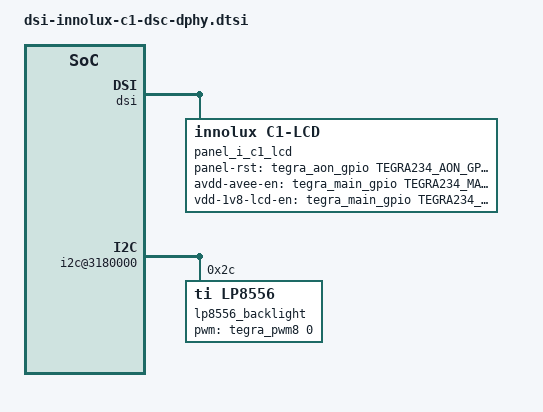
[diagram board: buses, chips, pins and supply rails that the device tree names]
/*
 * Copyright (c) 2022, NVIDIA CORPORATION.  All rights reserved.
 *
 * This program is free software; you can redistribute it and/or modify it
 * under the terms and conditions of the GNU General Public License,
 * version 2, as published by the Free Software Foundation.
 *
 * This program is distributed in the hope it will be useful, but WITHOUT
 * ANY WARRANTY; without even the implied warranty of MERCHANTABILITY or
 * FITNESS FOR A PARTICULAR PURPOSE.  See the GNU General Public License for
 * more details.
 *
 * You should have received a copy of the GNU General Public License
 * along with this program.  If not, see <http://www.gnu.org/licenses/>.
 */

// Panel: Innolux C-1 DPHY 1080x1920 with compression enabled, connected to E3616, part No. FN21AY-C1

#include <dt-bindings/display/tegra-dc.h>
#include <dt-bindings/display/tegra-panel.h>
#include "dt-bindings/gpio/tegra234-gpio.h"

/ {
	display@13800000 {
		nvidia,backlight-name = "pwm-backlight"; // Should match bl-name property in lp8556 node.
		dsi {
			status = "okay";
			nvidia,active-panel = <&panel_i_c1_lcd>;
			panel_i_c1_lcd: panel-i-c1-lcd {
				status = "okay";
				compatible = "innolux,c1-lcd";
				nvidia,dsi-instance = <DSI_INSTANCE_0>;
				nvidia,dsi-n-data-lanes = <4>;
				nvidia,dsi-pixel-format = <TEGRA_DSI_PIXEL_FORMAT_24BIT_P>;
				nvidia,dsi-refresh-rate = <60>;
				nvidia,dsi-phy-type = <DSI_DPHY>; //DPHY = 0, CPHY = 1
				nvidia,dsi-video-data-type = <0>; //DSI_VIDEO_NON_BURST_MODE
				nvidia,dsi-video-clock-mode = <1>; // TX_ONLY
				nvidia,dsi-video-burst-mode = <0>;
				nvidia,dsi-virtual-channel = <TEGRA_DSI_VIRTUAL_CHANNEL_0>;
				nvidia,dsi-panel-reset = <TEGRA_DSI_ENABLE>;
				nvidia,dsi-power-saving-suspend = <TEGRA_DSI_ENABLE>;
				nvidia,dsi-ulpm-not-support = <TEGRA_DSI_ENABLE>;
				nvidia,set-max-dsi-timeout;
				nvidia,use-legacy-dphy-core;
				nvidia,enable-link-compression;
				nvidia,comp-rate = <TEGRA_DSI_PIXEL_FORMAT_8BIT_DSC>;
				nvidia,num-of-slices = <2>;
				nvidia,slice-height = <32>;
				nvidia,dsi-init-cmd =
					/* Long  Packet: <PACKETTYPE[u8] COMMANDID[u8] PAYLOADCOUNT[u16] ECC[u8] PAYLOAD[..] CHECKSUM[u16]> */
					/* Short Packet: <PACKETTYPE[u8] COMMANDID[u8] DATA0[u8] DATA1[u8] ECC[u8]> */
					/* For DSI packets each DT cell is interpreted as u8 not u32 */

					<TEGRA_DSI_PACKET_CMD DSI_DCS_WRITE_1_PARAM 0xFF 0x25 0x0>,
					<TEGRA_DSI_DELAY_MS 10>, //Required 5ms
					<TEGRA_DSI_PACKET_CMD DSI_DCS_WRITE_1_PARAM 0xFB 0x01 0x0>,
					<TEGRA_DSI_DELAY_MS 10>, //Required 0ms
					<TEGRA_DSI_PACKET_CMD DSI_DCS_WRITE_1_PARAM 0x18 0x21 0x0>,
					<TEGRA_DSI_DELAY_MS 10>, //Required 0ms
					<TEGRA_DSI_PACKET_CMD DSI_DCS_WRITE_1_PARAM 0xFF 0xE0 0x0>,
					<TEGRA_DSI_DELAY_MS 10>, //Required 5ms
					<TEGRA_DSI_PACKET_CMD DSI_DCS_WRITE_1_PARAM 0xFB 0x01 0x0>,
					<TEGRA_DSI_DELAY_MS 10>, //Required 0ms
					<TEGRA_DSI_PACKET_CMD DSI_DCS_WRITE_1_PARAM 0x35 0x82 0x0>,
					<TEGRA_DSI_DELAY_MS 10>, //Required 0ms
					<TEGRA_DSI_PACKET_CMD DSI_DCS_WRITE_1_PARAM 0xFF 0xF0 0x0>,
					<TEGRA_DSI_DELAY_MS 10>, //Required 5ms
					<TEGRA_DSI_PACKET_CMD DSI_DCS_WRITE_1_PARAM 0xFB 0x01 0x0>,
					<TEGRA_DSI_DELAY_MS 10>, //Required 0ms
					<TEGRA_DSI_PACKET_CMD DSI_DCS_WRITE_1_PARAM 0x5A 0x00 0x0>,
					<TEGRA_DSI_DELAY_MS 10>, //Required 0ms
					<TEGRA_DSI_PACKET_CMD DSI_DCS_WRITE_1_PARAM 0xFF 0x10 0x0>,
					<TEGRA_DSI_DELAY_MS 10>, //Required 5ms
					<TEGRA_DSI_PACKET_CMD DSI_DCS_WRITE_1_PARAM 0xFB 0x01 0x0>,
					<TEGRA_DSI_DELAY_MS 10>, //Required 0ms
					<TEGRA_DSI_PACKET_CMD DSI_DCS_WRITE_1_PARAM 0x36 0x02 0x0>,
					<TEGRA_DSI_DELAY_MS 10>, //Required 0ms
					<TEGRA_DSI_PACKET_CMD DSI_DCS_WRITE_1_PARAM 0xB0 0x00 0x0>,
					<TEGRA_DSI_DELAY_MS 10>, //Required 0ms
					// Don't set 24-BPP RAW format, let it be 3:1 compression mode
					// <TEGRA_DSI_PACKET_CMD DSI_DCS_WRITE_1_PARAM 0xC0 0x00 0x0>,
					// <TEGRA_DSI_DELAY_MS 10>, //Required 0ms
					<TEGRA_DSI_PACKET_CMD DSI_DCS_WRITE_0_PARAM DSI_DCS_EXIT_SLEEP_MODE 0x0 0x0>,
					<TEGRA_DSI_DELAY_MS 120>, //Required 120ms
					<TEGRA_DSI_PACKET_CMD DSI_DCS_WRITE_0_PARAM DSI_DCS_SET_DISPLAY_ON 0x0 0x0>,
					<TEGRA_DSI_DELAY_MS 100>; //Required 40ms
				nvidia,dsi-n-init-cmd = <30>;
				nvidia,dsi-suspend-cmd =
					<TEGRA_DSI_PACKET_CMD DSI_DCS_WRITE_0_PARAM DSI_DCS_SET_DISPLAY_OFF 0x0 0x0>,
					<TEGRA_DSI_DELAY_MS 120>, //Required 120ms
					<TEGRA_DSI_PACKET_CMD DSI_DCS_WRITE_0_PARAM DSI_DCS_ENTER_SLEEP_MODE 0x0 0x0>,
					<TEGRA_DSI_DELAY_MS 10>; //Required 0ms
				nvidia,dsi-n-suspend-cmd = <4>;
				nvidia,panel-rst-gpio = <&tegra_aon_gpio TEGRA234_AON_GPIO(CC, 3) GPIO_ACTIVE_HIGH>; // CAM_INT4
				nvidia,avdd-avee-en-gpio = <&tegra_main_gpio TEGRA234_MAIN_GPIO(AC, 0) GPIO_ACTIVE_HIGH>; // CAM1_PWDN
				nvidia,vdd-1v8-lcd-en-gpio = <&tegra_main_gpio TEGRA234_MAIN_GPIO(H, 1) GPIO_ACTIVE_HIGH>; // CAM_ERROR2
				nvidia,panel-timings = <&panel_i_c1_lcd_timings>;
				display-timings {
					panel_i_c1_lcd_timings: 1080-1920-60Hz {
						clock-frequency = <146400000>;
						hactive = <1080>;
						vactive = <1920>;
						hfront-porch = <76>;
						hback-porch = <56>;
						hsync-len = <12>;
						vfront-porch = <54>;
						vback-porch = <10>;
						vsync-len = <10>;
					};
				};
			};
		};
	};

	i2c@3180000 { //gen-3 i2c or cam i2c
		status = "okay";
		lp8556_backlight: lp8556-backlight-t-lcd-7-0@2c {
			status = "okay";
			compatible = "ti,lp8556";
			reg = <0x2C>;

			bl-name = "pwm-backlight";
			// init-brt = /bits/ 8 <0xFF>; /* Max brightness */
			init-brt = /bits/ 8 <0x7D>; /* Half brightness */
			dev-ctrl = /bits/ 8 <0x80>; /* PWM, enable standby mode */
			pwm-period = <59424>;

			pwm-names = "lp8556";
			pwms = <&tegra_pwm8 0 59424>; /* tegra_pwm8 = CAM_BACKLIGHT_PWM */
			skip-i2c-configuration;

			bl-measured = < 0 1 2 3 4 5 5 6
					7 8 9 10 11 11 12 13
					14 15 15 16 17 18 19 20
					21 22 22 23 24 25 26 27
					28 29 30 31 31 32 33 34
					35 36 37 37 38 39 40 41
					41 42 43 44 45 46 47 48
					48 49 50 51 52 53 54 54
					55 56 57 58 58 59 60 61
					62 63 64 65 66 67 68 69
					70 71 72 73 74 75 75 76
					77 78 79 80 81 82 83 84
					85 86 87 88 89 90 91 92
					93 94 94 95 96 97 98 99
					100 101 102 104 105 106 107 108
					109 110 111 112 113 114 115 116
					117 118 119 120 121 122 123 125
					126 127 128 129 130 131 132 133
					134 135 136 137 138 139 140 141
					142 143 144 146 147 148 149 150
					151 152 153 154 155 156 157 158
					159 160 161 162 163 164 165 167
					168 169 170 171 172 173 174 175
					176 178 179 180 181 182 183 184
					185 186 187 188 189 190 191 192
					193 194 195 196 197 199 200 201
					202 203 204 205 206 207 208 210
					211 212 213 214 215 216 217 219
					220 221 222 223 225 226 227 228
					229 230 231 233 234 235 236 237
					238 239 240 241 242 244 245 246
					247 248 249 250 251 253 254 255 >;
		};
	};
};
